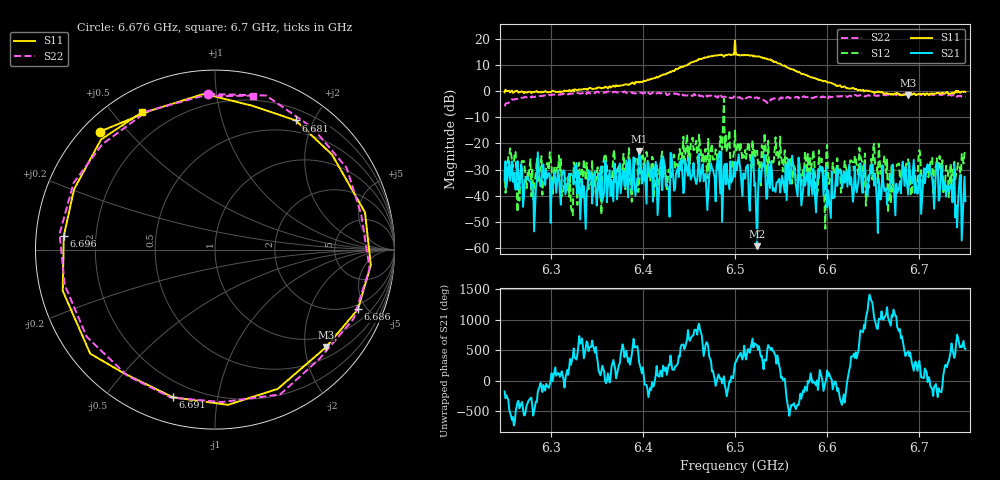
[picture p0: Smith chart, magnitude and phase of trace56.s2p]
# Hz S RI R 50
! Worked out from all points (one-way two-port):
!   401 points, 6.25 GHz to 6.75 GHz, reference 50 ohm
!   highest |S21| = -23.00 dB at 6.396 GHz (marker M1); lowest = -59.2 dB at 6.524 GHz (marker M2)
!   lowest |S11| = -1.7 dB at 6.688 GHz (marker M3), VSWR 10.34, Z = 36.4 - j123 ohm
!   |S11| at or under -10 dB: nowhere
!   |S22| runs from -5.8 to -0.1 dB; largest |S21 - S12| = 0.68
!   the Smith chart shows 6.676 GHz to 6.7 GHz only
!   S11 on the Smith chart (normalised r, x): 6.676 GHz: 0.05, +0.42; 6.681 GHz: 0.34, +1.75; 6.686 GHz: 1.68, -4.37; 6.691 GHz: 0.12, -0.75; 6.696 GHz: 0.08, +0.04; 6.7 GHz: 0.10, +0.60
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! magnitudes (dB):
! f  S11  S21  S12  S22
! 6.25 GHz  -0.5  -34.1  -30.3  -5.8
! 6.299 GHz  -0.4  -31.9  -23.3  -1.6
! 6.321 GHz  0.2  -31.9  -32.3  -1.0
! 6.334 GHz  0.6  -33.5  -29.9  -0.8
! 6.396 GHz  3.3  -23.0  -35.8  -0.6
! 6.418 GHz  5.6  -35.5  -29.6  -0.6
! 6.5 GHz  19.3  -32.6  -15.0  -2.6
! 6.52 GHz  13.2  -25.3  -28.2  -2.8
! 6.524 GHz  13.2  -59.2  -22.7  -2.4
! 6.53 GHz  12.6  -27.7  -22.1  -3.4
! 6.565 GHz  7.8  -30.9  -29.3  -2.4
! 6.584 GHz  5.1  -39.5  -25.8  -2.6
! 6.668 GHz  -1.1  -36.8  -30.7  -1.4
! 6.676 GHz  -0.7  -38.9  -28.0  -1.2
! 6.681 GHz  -1.4  -31.4  -30.5  -1.5
! 6.686 GHz  -1.3  -33.5  -27.5  -1.1
! 6.688 GHz  -1.7  -39.5  -26.1  -1.4
! 6.691 GHz  -1.4  -33.0  -39.8  -1.3
! 6.696 GHz  -1.5  -34.5  -37.3  -1.3
! 6.7 GHz  -1.2  -31.9  -22.6  -1.1
! 6.71 GHz  -1.5  -30.3  -32.8  -1.5
! 6.75 GHz  -0.3  -41.9  -23.2  -2.2
